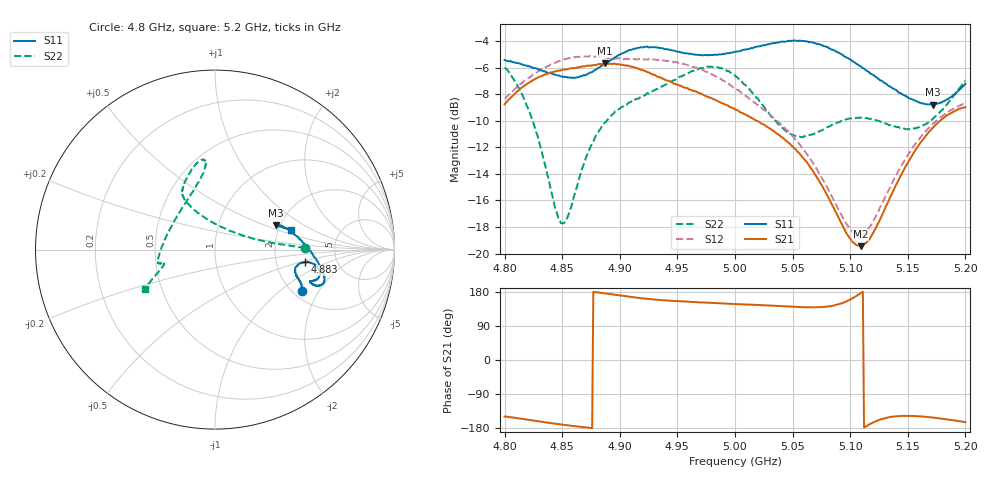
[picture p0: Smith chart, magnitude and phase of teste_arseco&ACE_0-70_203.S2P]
! Network Analyzer HP8722D
! Hewlett-Packard
! Data name: Linha & Wilkinson
! Saver's name: Rodrigo Anjos
! Comments: Teste da utilização de aquisição
! continua pelo VNA HP8722D
! Time and date: 8/5/2025 14:27
!  Frequency  S11  S21  S12  S22
# HZ  S  MA R 50
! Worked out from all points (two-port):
!   401 points, 4.8 GHz to 5.2 GHz, reference 50 ohm
!   highest |S21| = -5.68 dB at 4.887 GHz (marker M1); lowest = -19.4 dB at 5.109 GHz (marker M2)
!   |S21| within 3 dB of the highest: 4.801 GHz to 4.989 GHz (188.1 MHz wide, 3.84 % of centre)
!   lowest |S11| = -8.8 dB at 5.172 GHz (marker M3), VSWR 2.15, Z = 94.7 + j30 ohm
!   |S11| at or under -10 dB: nowhere
!   |S22| runs from -17.7 to -5.9 dB; largest |S21 - S12| = 1.1
!   S11 on the Smith chart (normalised r, x): 4.8 GHz: 2.23, -1.44; 4.883 GHz: 2.92, -0.55; 5.2 GHz: 2.34, +0.64
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4.8e9  0.5357 -25.4  0.3653 -149.1  0.3837 10.3  0.5025 1.3
4.822e9  0.506 -20.6  0.4421 -158.4  0.4619 7.2  0.3376 5.9
4.831e9  0.4931 -19.3  0.4646 -162.7  0.4907 6.0  0.2533 11.9
4.845e9  0.4697 -16.8  0.4868 -168.6  0.5258 3.6  0.1436 42.2
4.849e9  0.4647 -16.1  0.4907 -170.2  0.5341 2.9  0.1301 59.3
4.855e9  0.4599 -14.3  0.4963 -172.4  0.5436 2.0  0.1383 85.2
4.867e9  0.4651 -10.9  0.5052 -176.5  0.5529 0.3  0.2072 111.3
4.883e9  0.505 -8.0  0.5176 177.4  0.5486 -1.1  0.2938 120.6
4.887e9  0.5194 -7.6  0.5201 176.0  0.5489 -1.0  0.3121 121.0
4.911e9  0.588 -10.5  0.506 166.0  0.5407 -0.7  0.3767 119.2
4.934e9  0.5959 -15.7  0.4618 158.5  0.5379 -1.5  0.4206 112.6
4.975e9  0.5597 -18.5  0.3916 151.3  0.4848 -5.1  0.5041 99.2
5e9  0.5754 -19.4  0.3494 147.8  0.4208 -5.3  0.469 96.7
5.044e9  0.6294 -17.6  0.267 141.5  0.2945 2.9  0.2902 131.1
5.067e9  0.6254 -13.4  0.2068 139.1  0.2217 9.4  0.2813 164.5
5.098e9  0.545 -2.8  0.117 156.6  0.1269 37.4  0.3218 -170.4
5.109e9  0.5077 2.4  0.1066 176.1  0.1175 59.2  0.3252 -167.3
5.118e9  0.4748 6.8  0.1158 -167.6  0.128 76.6  0.3218 -166.2
5.134e9  0.4272 14.7  0.1603 -150.9  0.1754 94.7  0.304 -165.5
5.154e9  0.381 20.9  0.2352 -147.6  0.25 101.5  0.2957 -164.4
5.172e9  0.3644 22.1  0.2983 -152.0  0.3085 102.4  0.3232 -160.0
5.2e9  0.4364 14.8  0.3559 -163.9  0.3687 102.7  0.4484 -150.8
